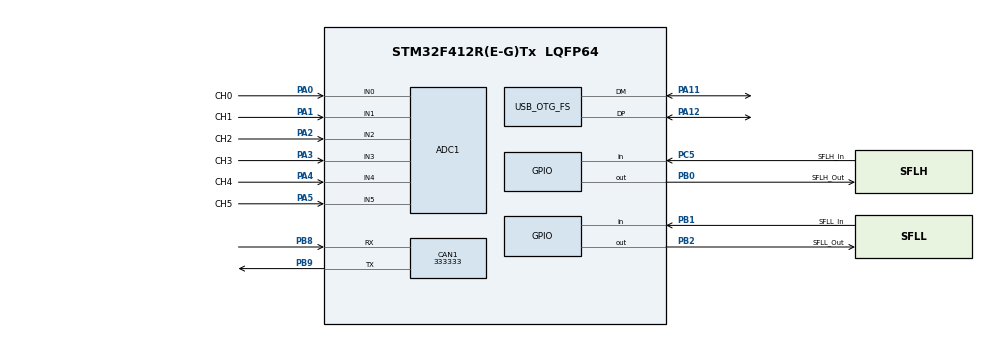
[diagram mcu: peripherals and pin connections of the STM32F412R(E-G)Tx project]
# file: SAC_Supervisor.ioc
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ADC1.Channel-0\#ChannelRegularConversion=ADC_CHANNEL_0
ADC1.Channel-1\#ChannelRegularConversion=ADC_CHANNEL_0
ADC1.Channel-2\#ChannelRegularConversion=ADC_CHANNEL_0
ADC1.Channel-3\#ChannelRegularConversion=ADC_CHANNEL_0
ADC1.Channel-4\#ChannelRegularConversion=ADC_CHANNEL_0
ADC1.Channel-5\#ChannelRegularConversion=ADC_CHANNEL_0
ADC1.NbrOfConversion=6
ADC1.NbrOfConversionFlag=1
ADC1.Rank-0\#ChannelRegularConversion=1
ADC1.Rank-1\#ChannelRegularConversion=2
ADC1.Rank-2\#ChannelRegularConversion=3
ADC1.Rank-3\#ChannelRegularConversion=4
ADC1.Rank-4\#ChannelRegularConversion=5
ADC1.Rank-5\#ChannelRegularConversion=6
ADC1.SamplingTime-0\#ChannelRegularConversion=ADC_SAMPLETIME_3CYCLES
ADC1.SamplingTime-1\#ChannelRegularConversion=ADC_SAMPLETIME_3CYCLES
ADC1.SamplingTime-2\#ChannelRegularConversion=ADC_SAMPLETIME_3CYCLES
ADC1.SamplingTime-3\#ChannelRegularConversion=ADC_SAMPLETIME_3CYCLES
ADC1.SamplingTime-4\#ChannelRegularConversion=ADC_SAMPLETIME_3CYCLES
ADC1.SamplingTime-5\#ChannelRegularConversion=ADC_SAMPLETIME_3CYCLES
ADC1.master=1
CAN1.CalculateBaudRate=333333
CAN1.CalculateTimeBit=3000
CAN1.CalculateTimeQuantum=1000.0
Mcu.Family=STM32F4
Mcu.Name=STM32F412R(E-G)Tx
Mcu.Package=LQFP64
NVIC.PriorityGroup=NVIC_PRIORITYGROUP_4
NVIC.TIM6_IRQn=true\:0\:0\:false\:false\:true\:true\:true\:true
PA0.GPIO_Label=CH0
PA0.Signal=ADCx_IN0
PA1.GPIO_Label=CH1
PA1.Signal=ADCx_IN1
PA11.Mode=Device_Only
PA11.Signal=USB_OTG_FS_DM
PA12.Mode=Device_Only
PA12.Signal=USB_OTG_FS_DP
PA13.Mode=Trace_Asynchronous_SW
PA13.Signal=SYS_JTMS-SWDIO
PA14.Mode=Trace_Asynchronous_SW
PA14.Signal=SYS_JTCK-SWCLK
PA2.GPIO_Label=CH2
PA2.Signal=ADCx_IN2
PA3.GPIO_Label=CH3
PA3.Signal=ADCx_IN3
PA4.GPIO_Label=CH4
PA4.Signal=ADCx_IN4
PA5.GPIO_Label=CH5
PA5.Signal=ADCx_IN5
PB0.GPIO_Label=SFLH_Out
PB0.Signal=GPIO_Output
PB1.GPIO_Label=SFLL_In
PB1.Signal=GPIO_Input
PB2.GPIO_Label=SFLL_Out
PB2.Signal=GPIO_Output
PB3.Mode=Trace_Asynchronous_SW
PB3.Signal=SYS_JTDO-SWO
PB8.Mode=CAN_Activate
PB8.Signal=CAN1_RX
PB9.Mode=CAN_Activate
PB9.Signal=CAN1_TX
PC5.GPIO_Label=SFLH_In
PC5.Signal=GPIO_Input
PH0\ -\ OSC_IN.Mode=HSE-External-Oscillator
PH0\ -\ OSC_IN.Signal=RCC_OSC_IN
PH1\ -\ OSC_OUT.Mode=HSE-External-Oscillator
PH1\ -\ OSC_OUT.Signal=RCC_OSC_OUT
ProjectManager.HeapSize=0x200
ProjectManager.StackSize=0x400
ProjectManager.TargetToolchain=STM32CubeIDE
RCC.CortexFreq_Value=16000000
RCC.PLLM=15
RCC.PLLN=144
RCC.PLLQ=5
RCC.USBFreq_Value=48000000
RCC.VCOOutputFreq_Value=240000000
SH.ADCx_IN0.0=ADC1_IN0,IN0
SH.ADCx_IN1.0=ADC1_IN1,IN1
SH.ADCx_IN2.0=ADC1_IN2,IN2
SH.ADCx_IN3.0=ADC1_IN3,IN3
SH.ADCx_IN4.0=ADC1_IN4,IN4
SH.ADCx_IN5.0=ADC1_IN5,IN5
USB_OTG_FS.VirtualMode=Device_Only
VP_TIM6_VS_ClockSourceINT.Mode=Enable_Timer
board=custom

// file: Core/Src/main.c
/* USER CODE BEGIN Header */
/**
  ******************************************************************************
  * @file           : main.c
  * @brief          : Main program body
  ******************************************************************************
  * @attention
  *
  * Copyright (c) 2022 STMicroelectronics.
  * All rights reserved.
  *
  * This software is licensed under terms that can be found in the LICENSE file
  * in the root directory of this software component.
  * If no LICENSE file comes with this software, it is provided AS-IS.
  *
  ******************************************************************************
  */
/* USER CODE END Header */
#include "main.h"

/* USER CODE BEGIN Includes */
#include "3_Supervisor_Routines.h"
/* USER CODE END Includes */

ADC_HandleTypeDef hadc1;

CAN_HandleTypeDef hcan1;

TIM_HandleTypeDef htim6;

PCD_HandleTypeDef hpcd_USB_OTG_FS;

/* USER CODE BEGIN PV */
TypedefSAC SAC_Card;
/* USER CODE END PV */

void SystemClock_Config(void);
static void MX_GPIO_Init(void);
static void MX_ADC1_Init(void);
static void MX_CAN1_Init(void);
static void MX_TIM6_Init(void);
static void MX_USB_OTG_FS_PCD_Init(void);

int main(void)
{
  /* USER CODE BEGIN 1 */
  HAL_GPIO_WritePin(GPIOA,GPIO_PIN_2,SET);
  /* USER CODE END 1 */

  /* MCU Configuration--------------------------------------------------------*/

  /* Reset of all peripherals, Initializes the Flash interface and the Systick. */
  HAL_Init();

  /* USER CODE BEGIN Init */
  SAC_Card.Card.CANChannel = 	&hcan1;
  SAC_Card.Card.htim = 			&htim6;
  SAC_Card.hadc = 				&hadc1;
  SAC_Card.Card.CardId = 		SAC_CARD_1;
  /* USER CODE END Init */

  /* Configure the system clock */
  SystemClock_Config();

  /* Initialize all configured peripherals */
  MX_GPIO_Init();
  MX_ADC1_Init();
  MX_CAN1_Init();
  MX_TIM6_Init();
  MX_USB_OTG_FS_PCD_Init();
  /* USER CODE BEGIN 2 */
  HAL_CAN_ActivateNotification(&hcan1,CAN_IT_RX_FIFO0_MSG_PENDING);
  /* USER CODE END 2 */

  /* Infinite loop */
  while (1)
  {

  }
}

void SystemClock_Config(void)
{
  RCC_OscInitTypeDef RCC_OscInitStruct = {0};
  RCC_ClkInitTypeDef RCC_ClkInitStruct = {0};

  /** Configure the main internal regulator output voltage
  */
  __HAL_RCC_PWR_CLK_ENABLE();
  __HAL_PWR_VOLTAGESCALING_CONFIG(PWR_REGULATOR_VOLTAGE_SCALE1);

  /** Initializes the RCC Oscillators according to the specified parameters
  * in the RCC_OscInitTypeDef structure.
  */
  RCC_OscInitStruct.OscillatorType = RCC_OSCILLATORTYPE_HSI|RCC_OSCILLATORTYPE_HSE;
  RCC_OscInitStruct.HSEState = RCC_HSE_ON;
  RCC_OscInitStruct.HSIState = RCC_HSI_ON;
  RCC_OscInitStruct.HSICalibrationValue = RCC_HSICALIBRATION_DEFAULT;
  RCC_OscInitStruct.PLL.PLLState = RCC_PLL_ON;
  RCC_OscInitStruct.PLL.PLLSource = RCC_PLLSOURCE_HSE;
  RCC_OscInitStruct.PLL.PLLM = 15;
  RCC_OscInitStruct.PLL.PLLN = 144;
  RCC_OscInitStruct.PLL.PLLP = RCC_PLLP_DIV2;
  RCC_OscInitStruct.PLL.PLLQ = 5;
  RCC_OscInitStruct.PLL.PLLR = 2;
  if (HAL_RCC_OscConfig(&RCC_OscInitStruct) != HAL_OK)
  {
    Error_Handler();
  }

  /** Initializes the CPU, AHB and APB buses clocks
  */
  RCC_ClkInitStruct.ClockType = RCC_CLOCKTYPE_HCLK|RCC_CLOCKTYPE_SYSCLK
                              |RCC_CLOCKTYPE_PCLK1|RCC_CLOCKTYPE_PCLK2;
  RCC_ClkInitStruct.SYSCLKSource = RCC_SYSCLKSOURCE_HSI;
  RCC_ClkInitStruct.AHBCLKDivider = RCC_SYSCLK_DIV1;
  RCC_ClkInitStruct.APB1CLKDivider = RCC_HCLK_DIV1;
  RCC_ClkInitStruct.APB2CLKDivider = RCC_HCLK_DIV1;

  if (HAL_RCC_ClockConfig(&RCC_ClkInitStruct, FLASH_LATENCY_0) != HAL_OK)
  {
    Error_Handler();
  }
}

static void MX_ADC1_Init(void)
{

  /** Configure the global features of the ADC (Clock, Resolution, Data Alignment and number of conversion)
  */
  hadc1.Instance = ADC1;
  hadc1.Init.ClockPrescaler = ADC_CLOCK_SYNC_PCLK_DIV2;
  hadc1.Init.Resolution = ADC_RESOLUTION_12B;
  hadc1.Init.ScanConvMode = ENABLE;
  hadc1.Init.ContinuousConvMode = DISABLE;
  hadc1.Init.DiscontinuousConvMode = DISABLE;
  hadc1.Init.ExternalTrigConvEdge = ADC_EXTERNALTRIGCONVEDGE_NONE;
  hadc1.Init.ExternalTrigConv = ADC_SOFTWARE_START;
  hadc1.Init.DataAlign = ADC_DATAALIGN_RIGHT;
  hadc1.Init.NbrOfConversion = 6;
  hadc1.Init.DMAContinuousRequests = DISABLE;
  hadc1.Init.EOCSelection = ADC_EOC_SINGLE_CONV;
  if (HAL_ADC_Init(&hadc1) != HAL_OK)
  {
    Error_Handler();
  }

}

static void MX_CAN1_Init(void)
{

  hcan1.Instance = CAN1;
  hcan1.Init.Prescaler = 8;
  hcan1.Init.Mode = CAN_MODE_NORMAL;
  hcan1.Init.SyncJumpWidth = CAN_SJW_1TQ;
  hcan1.Init.TimeSeg1 = CAN_BS1_2TQ;
  hcan1.Init.TimeSeg2 = CAN_BS2_1TQ;
  hcan1.Init.TimeTriggeredMode = DISABLE;
  hcan1.Init.AutoBusOff = DISABLE;
  hcan1.Init.AutoWakeUp = DISABLE;
  hcan1.Init.AutoRetransmission = DISABLE;
  hcan1.Init.ReceiveFifoLocked = DISABLE;
  hcan1.Init.TransmitFifoPriority = DISABLE;
  if (HAL_CAN_Init(&hcan1) != HAL_OK)
  {
    Error_Handler();
  }
  /* USER CODE BEGIN CAN1_Init 2 */
  CAN_FilterTypeDef canfilterconfig;

	canfilterconfig.FilterActivation = CAN_FILTER_ENABLE;
	canfilterconfig.FilterBank = 18;  // which filter bank to use from the assigned ones
	canfilterconfig.FilterFIFOAssignment = CAN_FILTER_FIFO0;

	canfilterconfig.FilterIdHigh = 0x800<<5; // Allow any id
	canfilterconfig.FilterIdLow = 0;
	canfilterconfig.FilterMaskIdHigh = 0x000<<5;

	canfilterconfig.FilterMaskIdLow = 0x0000;
	canfilterconfig.FilterMode = CAN_FILTERMODE_IDMASK;
	canfilterconfig.FilterScale = CAN_FILTERSCALE_32BIT;
	canfilterconfig.SlaveStartFilterBank = 20;  // how many filters to assign to the CAN1 (master can)

	HAL_CAN_ConfigFilter(&hcan1, &canfilterconfig);
  /* USER CODE END CAN1_Init 2 */

}

static void MX_TIM6_Init(void)
{

  TIM_MasterConfigTypeDef sMasterConfig = {0};

  htim6.Instance = TIM6;
  htim6.Init.Prescaler = 0;
  htim6.Init.CounterMode = TIM_COUNTERMODE_UP;
  htim6.Init.Period = 65535;
  htim6.Init.AutoReloadPreload = TIM_AUTORELOAD_PRELOAD_DISABLE;
  if (HAL_TIM_Base_Init(&htim6) != HAL_OK)
  {
    Error_Handler();
  }
  sMasterConfig.MasterOutputTrigger = TIM_TRGO_RESET;
  sMasterConfig.MasterSlaveMode = TIM_MASTERSLAVEMODE_DISABLE;
  if (HAL_TIMEx_MasterConfigSynchronization(&htim6, &sMasterConfig) != HAL_OK)
  {
    Error_Handler();
  }

}

static void MX_USB_OTG_FS_PCD_Init(void)
{

  hpcd_USB_OTG_FS.Instance = USB_OTG_FS;
  hpcd_USB_OTG_FS.Init.dev_endpoints = 6;
  hpcd_USB_OTG_FS.Init.speed = PCD_SPEED_FULL;
  hpcd_USB_OTG_FS.Init.dma_enable = DISABLE;
  hpcd_USB_OTG_FS.Init.phy_itface = PCD_PHY_EMBEDDED;
  hpcd_USB_OTG_FS.Init.Sof_enable = DISABLE;
  hpcd_USB_OTG_FS.Init.low_power_enable = DISABLE;
  hpcd_USB_OTG_FS.Init.lpm_enable = DISABLE;
  hpcd_USB_OTG_FS.Init.battery_charging_enable = DISABLE;
  hpcd_USB_OTG_FS.Init.vbus_sensing_enable = DISABLE;
  hpcd_USB_OTG_FS.Init.use_dedicated_ep1 = DISABLE;
  if (HAL_PCD_Init(&hpcd_USB_OTG_FS) != HAL_OK)
  {
    Error_Handler();
  }

}

static void MX_GPIO_Init(void)
{
  GPIO_InitTypeDef GPIO_InitStruct = {0};

  /* GPIO Ports Clock Enable */
  __HAL_RCC_GPIOH_CLK_ENABLE();
  __HAL_RCC_GPIOA_CLK_ENABLE();
  __HAL_RCC_GPIOC_CLK_ENABLE();
  __HAL_RCC_GPIOB_CLK_ENABLE();

  /*Configure GPIO pin Output Level */
  HAL_GPIO_WritePin(GPIOB, SFLH_Out_Pin|SFLL_Out_Pin, GPIO_PIN_RESET);

  /*Configure GPIO pin : SFLH_In_Pin */
  GPIO_InitStruct.Pin = SFLH_In_Pin;
  GPIO_InitStruct.Mode = GPIO_MODE_INPUT;
  GPIO_InitStruct.Pull = GPIO_NOPULL;
  HAL_GPIO_Init(SFLH_In_GPIO_Port, &GPIO_InitStruct);

  /*Configure GPIO pins : SFLH_Out_Pin SFLL_Out_Pin */
  GPIO_InitStruct.Pin = SFLH_Out_Pin|SFLL_Out_Pin;
  GPIO_InitStruct.Mode = GPIO_MODE_OUTPUT_PP;
  GPIO_InitStruct.Pull = GPIO_NOPULL;
  GPIO_InitStruct.Speed = GPIO_SPEED_FREQ_LOW;
  HAL_GPIO_Init(GPIOB, &GPIO_InitStruct);

  /*Configure GPIO pin : SFLL_In_Pin */
  GPIO_InitStruct.Pin = SFLL_In_Pin;
  GPIO_InitStruct.Mode = GPIO_MODE_INPUT;
  GPIO_InitStruct.Pull = GPIO_NOPULL;
  HAL_GPIO_Init(SFLL_In_GPIO_Port, &GPIO_InitStruct);

}

/* USER CODE BEGIN 4 */

/**
 * @brief CAN Rx Routine interrupt
 * @param CAN Handle
 * @retval None
 */
void HAL_CAN_RxFifo0MsgPendingCallback(CAN_HandleTypeDef *hcan)
{
	HAL_CAN_GetRxMessage(hcan, CAN_RX_FIFO0, &SAC_Card.Card.rxHeader, SAC_Card.Card.RxData);
	RxParser(&SAC_Card);
}

/**
 * @brief Timer interrupt callback
 * @param TIM handle
 * @retval None
 */
void HAL_TIM_PeriodElapsedCallback(TIM_HandleTypeDef* htim)
{
    superRoutine(&SAC_Card);
}
/* USER CODE END 4 */

void Error_Handler(void)
{
  __disable_irq();
  while (1)
  {
  }
}
